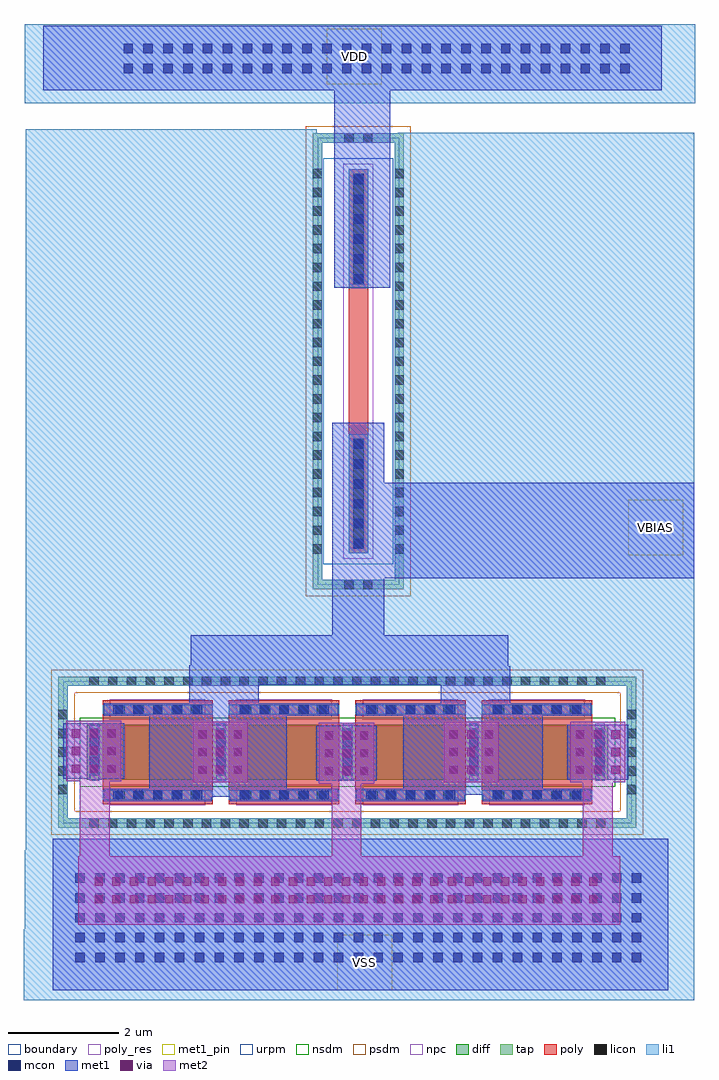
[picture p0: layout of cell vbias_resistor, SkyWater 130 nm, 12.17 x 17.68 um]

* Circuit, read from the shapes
.subckt vbias_resistor VBIAS VDD VSS
XM1 VBIAS VBIAS VSS VSS sky130_fd_pr__nfet_01v8 w=1 l=2 m=4
XR2 VDD VBIAS VSS sky130_fd_pr__res_xhigh_po w=0.35 l=2.68
.ends

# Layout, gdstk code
import gdstk
lib = gdstk.Library(unit=1e-6, precision=1e-09)
def R(c, l, rs):  # rectangles x0, y0, x1, y1
    for r in rs: c.add(gdstk.rectangle(r[:2], r[2:], *l))
def A(c, l, x, y, w, h, nx, ny, dx, dy):  # array of equal rectangles
    R(c, l, [(x+i*dx, y+j*dy, x+i*dx+w, y+j*dy+h) for i in range(nx) for j in range(ny)])
diff = (65, 20)
tap = (65, 44)
poly_res = (66, 13)
poly = (66, 20)
licon = (66, 44)
li1 = (67, 20)
mcon = (67, 44)
met1_pin = (68, 16)
met1 = (68, 20)
via = (68, 44)
met2 = (69, 20)
urpm = (79, 20)
nsdm = (93, 44)
psdm = (94, 20)
npc = (95, 20)
boundary = (235, 4)

sky130_fd_pr__res_xhigh_ = lib.new_cell('sky130_fd_pr__res_xhigh_po_0p35_5BGKUX')
R(sky130_fd_pr__res_xhigh_, tap, [(-0.825,-4.13,0.825,-3.96), (-0.825,-3.96,-0.655,3.96), (0.655,-3.96,0.825,3.96), (-0.825,3.96,0.825,4.13)])
R(sky130_fd_pr__res_xhigh_, poly_res, [(-0.175,-1.4,0.175,1.4)])
R(sky130_fd_pr__res_xhigh_, poly, [(-0.175,-3.48,0.175,3.48)])
A(sky130_fd_pr__res_xhigh_, licon, -0.825, -3.485, 0.17, 0.17, 1, 21, 0, 0.34)
A(sky130_fd_pr__res_xhigh_, licon, 0.655, -3.485, 0.17, 0.17, 1, 21, 0, 0.34)
R(sky130_fd_pr__res_xhigh_, licon, [(-0.255,-4.13,-0.085,-3.96), (0.085,-4.13,0.255,-3.96), (-0.095,-3.4,0.095,-1.4), (-0.095,1.4,0.095,3.4), (-0.255,3.96,-0.085,4.13), (0.085,3.96,0.255,4.13)])
R(sky130_fd_pr__res_xhigh_, li1, [(-0.825,-4.13,0.825,-3.96), (-0.825,-3.96,-0.655,3.96), (0.655,-3.96,0.825,3.96), (-0.175,-3.48,0.175,-1.32), (-0.175,1.32,0.175,3.48), (-0.825,3.96,0.825,4.13)])
A(sky130_fd_pr__res_xhigh_, mcon, -0.085, -3.385, 0.17, 0.17, 1, 6, 0, 0.36)
A(sky130_fd_pr__res_xhigh_, mcon, -0.085, 1.41, 0.17, 0.17, 1, 6, 0, 0.36)
R(sky130_fd_pr__res_xhigh_, met1, [(-0.125,-3.45,0.125,-1.345), (-0.125,1.345,0.125,3.45)])
R(sky130_fd_pr__res_xhigh_, urpm, [(-0.635,-3.68,0.635,3.68)])
R(sky130_fd_pr__res_xhigh_, psdm, [(-0.95,-4.255,0.95,4.255)])
R(sky130_fd_pr__res_xhigh_, npc, [(-0.27,-3.575,0.27,3.575)])
R(sky130_fd_pr__res_xhigh_, boundary, [(-0.74,-4.045,0.74,4.045)])

sky130_fd_pr__nfet_01v8_ = lib.new_cell('sky130_fd_pr__nfet_01v8_VWWVRL')
R(sky130_fd_pr__nfet_01v8_, diff, [(-4.725,-0.5,4.725,0.5)])
R(sky130_fd_pr__nfet_01v8_, tap, [(-5.235,-1.37,5.235,-1.2), (-5.235,-1.2,-5.065,1.2), (5.065,-1.2,5.235,1.2), (-5.235,1.2,5.235,1.37)])
A(sky130_fd_pr__nfet_01v8_, poly, -4.435, -0.94, 2, 1.88, 4, 1, 2.29, 0)
A(sky130_fd_pr__nfet_01v8_, licon, -4.675, -1.37, 0.17, 0.17, 28, 2, 0.34, 2.57)
A(sky130_fd_pr__nfet_01v8_, licon, -4.2, -0.86, 0.17, 0.17, 5, 2, 0.34, 1.55)
A(sky130_fd_pr__nfet_01v8_, licon, -1.91, -0.86, 0.17, 0.17, 5, 2, 0.34, 1.55)
A(sky130_fd_pr__nfet_01v8_, licon, 0.38, -0.86, 0.17, 0.17, 5, 2, 0.34, 1.55)
A(sky130_fd_pr__nfet_01v8_, licon, 2.67, -0.86, 0.17, 0.17, 5, 2, 0.34, 1.55)
A(sky130_fd_pr__nfet_01v8_, licon, -5.235, -0.765, 0.17, 0.17, 1, 5, 0, 0.34)
A(sky130_fd_pr__nfet_01v8_, licon, 5.065, -0.765, 0.17, 0.17, 1, 5, 0, 0.34)
A(sky130_fd_pr__nfet_01v8_, licon, -4.665, -0.425, 0.17, 0.17, 5, 3, 2.29, 0.34)
A(sky130_fd_pr__nfet_01v8_, li1, -4.435, -0.86, 2, 0.17, 4, 2, 2.29, 1.55)
A(sky130_fd_pr__nfet_01v8_, li1, -4.665, -0.52, 0.17, 1.04, 5, 1, 2.29, 0)
R(sky130_fd_pr__nfet_01v8_, li1, [(-5.235,-1.37,5.235,-1.2), (-5.235,-1.2,-5.065,1.2), (5.065,-1.2,5.235,1.2), (-5.235,1.2,5.235,1.37)])
A(sky130_fd_pr__nfet_01v8_, mcon, -4.24, -0.86, 0.17, 0.17, 5, 2, 0.36, 1.55)
A(sky130_fd_pr__nfet_01v8_, mcon, -1.95, -0.86, 0.17, 0.17, 5, 2, 0.36, 1.55)
A(sky130_fd_pr__nfet_01v8_, mcon, 0.34, -0.86, 0.17, 0.17, 5, 2, 0.36, 1.55)
A(sky130_fd_pr__nfet_01v8_, mcon, 2.63, -0.86, 0.17, 0.17, 5, 2, 0.36, 1.55)
A(sky130_fd_pr__nfet_01v8_, mcon, -4.665, -0.265, 0.17, 0.17, 5, 2, 2.29, 0.36)
A(sky130_fd_pr__nfet_01v8_, met1, -4.415, -0.89, 1.96, 0.23, 4, 2, 2.29, 1.55)
A(sky130_fd_pr__nfet_01v8_, met1, -4.695, -0.5, 0.23, 1, 5, 1, 2.29, 0)
R(sky130_fd_pr__nfet_01v8_, nsdm, [(-4.85,-0.625,4.85,0.625)])
R(sky130_fd_pr__nfet_01v8_, psdm, [(-5.36,-1.495,5.36,-1.075), (-5.36,-1.075,-4.94,1.075), (4.94,-1.075,5.36,1.075), (-5.36,1.075,5.36,1.495)])
A(sky130_fd_pr__nfet_01v8_, npc, -4.3, -0.96, 1.73, 0.37, 4, 2, 2.29, 1.55)
R(sky130_fd_pr__nfet_01v8_, boundary, [(-5.15,-1.285,5.15,1.285)])

vbias_resistor = lib.new_cell('vbias_resistor')
R(vbias_resistor, li1, [(5.24,-4.79,17.39,-3.51), (5.26,-3.51,17.39,-2.08), (5.28,-2.08,17.39,-1.65), (5.28,-1.65,6.03,0.92), (16.21,-1.65,17.39,0.98), (5.28,0.92,10.55,0.98), (5.28,0.98,17.39,2.67), (5.28,2.67,10.55,10.98), (12.02,2.67,17.39,10.92), (5.26,11.45,17.41,12.89)])
A(vbias_resistor, mcon, 6.18, -4.105, 0.17, 0.17, 29, 5, 0.36, 0.36)
A(vbias_resistor, mcon, 7.05, 12, 0.17, 0.17, 26, 2, 0.36, 0.36)
R(vbias_resistor, met1_pin, [(10.92,-4.61,11.92,-3.61), (16.19,3.27,17.19,4.27), (10.73,11.8,11.73,12.8)])
R(vbias_resistor, met1, [(5.77,-4.61,16.92,-1.87), (7.62,-1.11,9.87,-1.09), (7.52,-1.09,9.87,-1.03), (12.23,-1.07,14.48,-1.03), (7.52,-1.03,10.01,0.44), (12.12,-1.03,14.64,0.48), (10.54,-0.82,11.64,0.18), (15.09,-0.8,16.19,0.2), (5.96,-0.78,7.06,0.22), (7.52,0.44,7.72,0.48), (8.24,0.44,9.5,0.92), (9.81,0.44,10.01,0.54), (12.12,0.48,12.32,0.54), (12.8,0.48,14.06,0.92), (14.44,0.48,14.64,0.54), (8.24,0.92,14.06,1.26), (8.24,1.26,14.02,1.27), (8.27,1.27,14.02,1.82), (10.83,1.82,11.77,2.85), (10.83,2.85,17.39,4.58), (10.83,4.58,11.77,5.67), (10.87,8.11,11.88,11.69), (5.6,11.69,16.8,12.86)])
A(vbias_resistor, via, 6.525, -3.04, 0.15, 0.15, 29, 2, 0.32, 0.32)
A(vbias_resistor, via, 10.695, -0.715, 0.15, 0.15, 3, 3, 0.32, 0.32)
A(vbias_resistor, via, 8.405, -0.695, 0.15, 0.15, 3, 3, 0.32, 0.32)
A(vbias_resistor, via, 12.955, -0.695, 0.15, 0.15, 3, 3, 0.32, 0.32)
A(vbias_resistor, via, 15.245, -0.695, 0.15, 0.15, 3, 3, 0.32, 0.32)
A(vbias_resistor, via, 6.115, -0.675, 0.15, 0.15, 3, 3, 0.32, 0.32)
R(vbias_resistor, met2, [(6.23,-3.43,16.05,-2.19), (6.26,-2.19,6.8,-0.83), (10.82,-2.19,11.36,-0.87), (15.37,-2.19,15.91,-0.85), (10.59,-0.87,11.59,0.23), (8.3,-0.85,9.3,0.25), (12.85,-0.85,13.85,0.25), (15.14,-0.85,16.14,0.25), (6.01,-0.83,7.01,0.27)])
vbias_resistor.add(gdstk.Reference(sky130_fd_pr__res_xhigh_, (11.305,6.78)))
vbias_resistor.add(gdstk.Reference(sky130_fd_pr__nfet_01v8_, (11.105,-0.3)))
vbias_resistor.add(gdstk.Label('VDD', (11.23,12.3), layer=68, texttype=5))
vbias_resistor.add(gdstk.Label('VSS', (11.42,-4.11), layer=68, texttype=5))
vbias_resistor.add(gdstk.Label('VBIAS', (16.69,3.77), layer=68, texttype=5))

lib.write_gds('vbias_resistor.gds')
